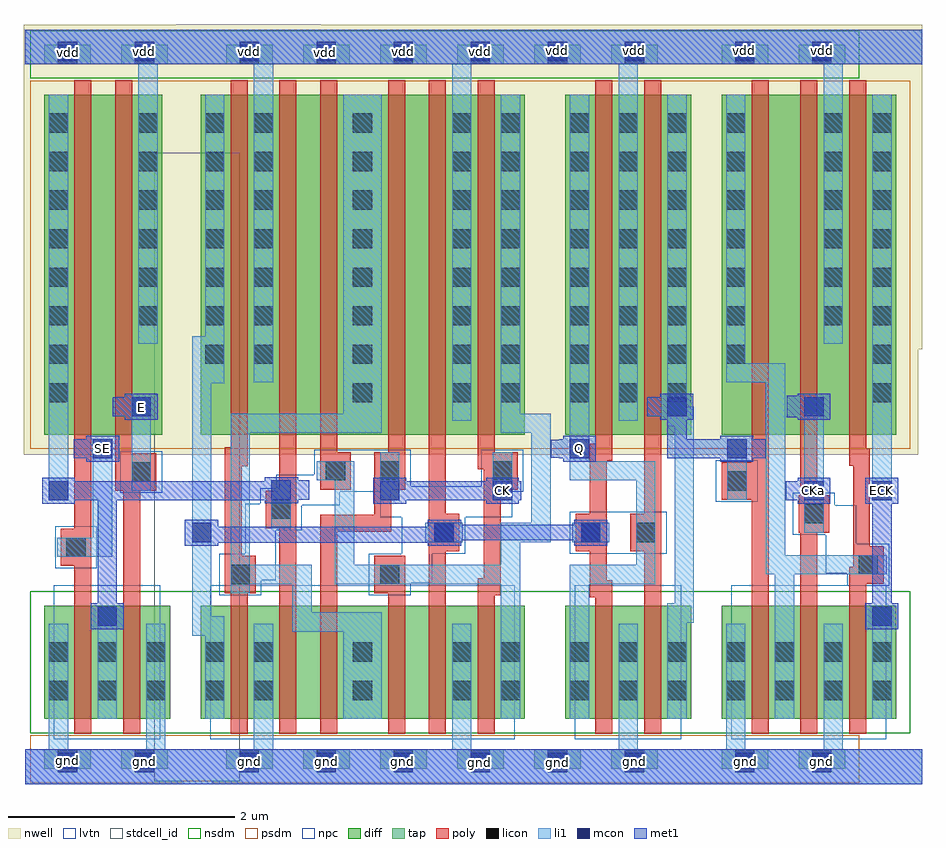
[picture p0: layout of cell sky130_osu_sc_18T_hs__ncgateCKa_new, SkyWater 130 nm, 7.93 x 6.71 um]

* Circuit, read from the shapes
.subckt sky130_osu_sc_18T_hs__ncgateCKa_new CK CKa E ECK Q SE gnd vdd
XM1 n1 SE gnd gnd sky130_fd_pr__nfet_01v8_lvt w=1 l=0.15
XM2 gnd E n1 gnd sky130_fd_pr__nfet_01v8_lvt w=1 l=0.15
XM3 gnd n2 n3 gnd sky130_fd_pr__nfet_01v8_lvt w=1 l=0.15
XM4 n4 n1 gnd gnd sky130_fd_pr__nfet_01v8_lvt w=1 l=0.15
XM5 n2 CK n4 gnd sky130_fd_pr__nfet_01v8_lvt w=1 l=0.15
XM6 n5 n6 n2 gnd sky130_fd_pr__nfet_01v8_lvt w=1 l=0.15
XM7 gnd n3 n5 gnd sky130_fd_pr__nfet_01v8_lvt w=1 l=0.15
XM8 n6 CK gnd gnd sky130_fd_pr__nfet_01v8_lvt w=1 l=0.15
XM9 gnd n3 Q gnd sky130_fd_pr__nfet_01v8_lvt w=1 l=0.15
XM10 n7 Q gnd gnd sky130_fd_pr__nfet_01v8_lvt w=1 l=0.15
XM11 n8 n7 gnd gnd sky130_fd_pr__nfet_01v8_lvt w=1 l=0.15
XM12 gnd CKa n8 gnd sky130_fd_pr__nfet_01v8_lvt w=1 l=0.15
XM13 ECK n8 gnd gnd sky130_fd_pr__nfet_01v8_lvt w=1 l=0.15
XM14 n9 SE n1 vdd sky130_fd_pr__pfet_01v8 w=3 l=0.15
XM15 vdd E n9 vdd sky130_fd_pr__pfet_01v8 w=3 l=0.15
XM16 vdd n2 n3 vdd sky130_fd_pr__pfet_01v8 w=3 l=0.15
XM17 n10 n1 vdd vdd sky130_fd_pr__pfet_01v8 w=3 l=0.15
XM18 n2 n6 n10 vdd sky130_fd_pr__pfet_01v8 w=3 l=0.15
XM19 n11 CK n2 vdd sky130_fd_pr__pfet_01v8 w=3 l=0.15
XM20 vdd n3 n11 vdd sky130_fd_pr__pfet_01v8 w=3 l=0.15
XM21 n6 CK vdd vdd sky130_fd_pr__pfet_01v8 w=3 l=0.15
XM22 vdd n3 Q vdd sky130_fd_pr__pfet_01v8 w=3 l=0.15
XM23 n7 Q vdd vdd sky130_fd_pr__pfet_01v8 w=3 l=0.15
XM24 n12 n7 n8 vdd sky130_fd_pr__pfet_01v8 w=3 l=0.15
XM25 vdd CKa n12 vdd sky130_fd_pr__pfet_01v8 w=3 l=0.15
XM26 ECK n8 vdd vdd sky130_fd_pr__pfet_01v8 w=3 l=0.15
.ends

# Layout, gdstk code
import gdstk
lib = gdstk.Library(unit=1e-6, precision=1e-09)
def R(c, l, rs):  # rectangles x0, y0, x1, y1
    for r in rs: c.add(gdstk.rectangle(r[:2], r[2:], *l))
def A(c, l, x, y, w, h, nx, ny, dx, dy):  # array of equal rectangles
    R(c, l, [(x+i*dx, y+j*dy, x+i*dx+w, y+j*dy+h) for i in range(nx) for j in range(ny)])
nwell = (64, 20)
diff = (65, 20)
tap = (65, 44)
poly = (66, 20)
licon = (66, 44)
li1 = (67, 20)
mcon = (67, 44)
met1 = (68, 20)
stdcell_id = (81, 4)
nsdm = (93, 44)
psdm = (94, 20)
npc = (95, 20)
lvtn = (125, 44)

sky130_osu_sc_18t_hs__nc = lib.new_cell('sky130_osu_sc_18T_hs__ncgateCKa_new')
R(sky130_osu_sc_18t_hs__nc, nwell, [(-1.345,2.88,6.55,3.815), (-1.345,3.815,6.585,6.68), (0,6.68,1.275,6.685)])
R(sky130_osu_sc_18t_hs__nc, diff, [(-1.165,0.55,-0.055,1.55), (0.215,0.55,3.075,1.55), (3.435,0.55,4.545,1.55), (4.815,0.55,6.355,1.55), (-1.165,3.06,-0.125,6.06), (0.215,3.06,3.075,6.06), (3.435,3.06,4.545,6.06), (4.815,3.06,6.355,6.06)])
A(sky130_osu_sc_18t_hs__nc, tap, 0.44, 0.11, 0.41, 0.17, 6, 2, 0.68, 6.22)
R(sky130_osu_sc_18t_hs__nc, tap, [(-1.165,0.11,-0.755,0.28), (-0.485,0.11,-0.075,0.28), (4.815,0.11,5.225,0.28), (5.495,0.11,5.905,0.28), (-1.165,6.33,-0.755,6.5), (-0.485,6.33,-0.075,6.5), (4.815,6.33,5.225,6.5), (5.495,6.33,5.905,6.5)])
R(sky130_osu_sc_18t_hs__nc, poly, [(-0.9,0.42,-0.75,1.9), (-0.47,0.42,-0.32,2.565), (0.48,0.42,0.63,1.66), (0.91,0.42,1.06,2.235), (1.27,0.42,1.42,2.2), (1.87,0.42,2.02,1.66), (2.23,0.42,2.38,2.03), (2.66,0.42,2.81,1.64), (3.7,0.42,3.85,1.625), (4.13,0.42,4.28,2.03), (5.08,0.42,5.23,2.485), (5.51,0.42,5.66,2.195), (5.94,0.42,6.09,1.745), (3.65,1.625,3.85,1.775), (2.66,1.64,2.865,1.79), (0.43,1.66,0.7,1.99), (1.75,1.66,2.02,1.99), (5.94,1.745,6.245,1.895), (3.65,1.775,3.8,2.03), (2.715,1.79,2.865,2.575), (5.975,1.895,6.245,2.075), (-1.02,1.9,-0.75,2.23), (0.43,1.99,0.58,2.78), (2.23,2.03,2.5,2.36), (3.525,2.03,3.8,2.36), (4.01,2.03,4.28,2.36), (5.975,2.075,6.125,2.785), (5.495,2.195,5.765,2.525), (1.27,2.2,1.9,2.35), (-0.9,2.23,-0.75,6.19), (0.79,2.235,1.06,2.565), (1.75,2.35,1.9,2.575), (2.23,2.36,2.38,6.19), (3.65,2.36,3.8,2.83), (4.13,2.36,4.28,6.19), (4.815,2.485,5.23,2.815), (5.51,2.525,5.66,6.19), (-0.54,2.565,-0.175,2.895), (0.91,2.565,1.06,6.19), (1.27,2.575,1.54,2.905), (1.75,2.575,2.02,2.905), (2.715,2.575,3.015,2.755), (2.66,2.755,3.015,2.905), (0.43,2.78,0.63,2.95), (5.94,2.785,6.125,2.935), (5.08,2.815,5.23,6.19), (3.65,2.83,3.85,2.98), (-0.54,2.895,-0.39,6.19), (1.27,2.905,1.42,6.19), (1.87,2.905,2.02,6.19), (2.66,2.905,2.81,6.19), (5.94,2.935,6.09,6.19), (0.48,2.95,0.63,6.19), (3.7,2.98,3.85,6.19)])
A(sky130_osu_sc_18t_hs__nc, licon, 0.56, 0.11, 0.17, 0.17, 6, 2, 0.68, 6.22)
A(sky130_osu_sc_18t_hs__nc, licon, -1.125, 0.715, 0.17, 0.17, 3, 2, 0.43, 0.34)
A(sky130_osu_sc_18t_hs__nc, licon, 0.685, 0.715, 0.17, 0.17, 3, 2, 0.875, 0.34)
A(sky130_osu_sc_18t_hs__nc, licon, 3.475, 0.715, 0.17, 0.17, 3, 2, 0.43, 0.34)
A(sky130_osu_sc_18t_hs__nc, licon, 4.855, 0.715, 0.17, 0.17, 4, 2, 0.43, 0.34)
A(sky130_osu_sc_18t_hs__nc, licon, -1.125, 3.345, 0.17, 0.17, 1, 8, 0, 0.34)
A(sky130_osu_sc_18t_hs__nc, licon, 2.865, 3.345, 0.17, 0.17, 1, 8, 0, 0.34)
A(sky130_osu_sc_18t_hs__nc, licon, 3.475, 3.345, 0.17, 0.17, 3, 8, 0.43, 0.34)
A(sky130_osu_sc_18t_hs__nc, licon, 6.145, 3.345, 0.17, 0.17, 1, 8, 0, 0.34)
A(sky130_osu_sc_18t_hs__nc, licon, 0.255, 3.685, 0.17, 0.17, 1, 7, 0, 0.34)
A(sky130_osu_sc_18t_hs__nc, licon, 0.685, 3.685, 0.17, 0.17, 3, 7, 0.875, 0.34)
A(sky130_osu_sc_18t_hs__nc, licon, 4.855, 3.685, 0.17, 0.17, 1, 7, 0, 0.34)
A(sky130_osu_sc_18t_hs__nc, licon, -0.335, 4.025, 0.17, 0.17, 1, 6, 0, 0.34)
A(sky130_osu_sc_18t_hs__nc, licon, 5.715, 4.025, 0.17, 0.17, 1, 6, 0, 0.34)
R(sky130_osu_sc_18t_hs__nc, licon, [(-1.045,0.11,-0.875,0.28), (-0.365,0.11,-0.195,0.28), (4.935,0.11,5.105,0.28), (5.615,0.11,5.785,0.28), (0.255,0.715,0.425,0.885), (2.865,0.715,3.035,0.885), (0.255,1.055,0.425,1.225), (2.865,1.055,3.035,1.225), (0.48,1.74,0.65,1.91), (1.8,1.74,1.97,1.91), (6.025,1.825,6.195,1.995), (-0.97,1.98,-0.8,2.15), (2.28,2.11,2.45,2.28), (3.575,2.11,3.745,2.28), (4.06,2.11,4.23,2.28), (5.545,2.275,5.715,2.445), (0.84,2.315,1.01,2.485), (4.865,2.565,5.035,2.735), (-0.395,2.645,-0.225,2.815), (1.32,2.655,1.49,2.825), (1.8,2.655,1.97,2.825), (2.795,2.655,2.965,2.825), (1.56,3.345,1.73,3.515), (2.435,3.345,2.605,3.515), (-1.045,6.33,-0.875,6.5), (-0.365,6.33,-0.195,6.5), (4.935,6.33,5.105,6.5), (5.615,6.33,5.785,6.5)])
R(sky130_osu_sc_18t_hs__nc, li1, [(-1.335,-0.025,6.585,0.28), (-1.125,0.28,-0.955,1.39), (-0.265,0.28,-0.095,1.39), (0.685,0.28,0.855,1.39), (2.435,0.28,2.605,1.39), (3.905,0.28,4.075,1.39), (4.855,0.28,5.025,1.39), (5.715,0.28,5.885,1.39), (-0.695,0.55,-0.525,1.54), (0.255,0.55,0.425,1.285), (1.475,0.55,1.815,1.32), (2.865,0.55,3.035,1.74), (3.475,0.55,3.645,1.74), (4.335,0.55,4.505,1.4), (5.285,0.55,5.455,1.825), (6.145,0.55,6.315,1.54), (0.14,1.285,0.425,1.455), (1.025,1.32,1.815,1.49), (4.335,1.4,4.57,1.57), (0.14,1.455,0.31,3.515), (1.025,1.49,1.195,1.74), (4.4,1.57,4.57,3.135), (0.48,1.66,0.65,1.74), (0.48,1.74,1.195,1.91), (1.4,1.74,3.035,1.91), (3.475,1.74,4.23,1.91), (5.205,1.825,6.275,1.995), (0.48,1.91,0.65,3.075), (1.4,1.91,1.57,2.655), (2.865,1.91,3.035,2.11), (4.06,1.91,4.23,2.655), (-1.05,1.98,-0.565,2.15), (5.205,1.995,5.375,3.52), (2.2,2.11,2.53,2.28), (2.865,2.11,3.305,2.28), (3.495,2.11,3.825,2.28), (-0.735,2.15,-0.565,3.02), (5.545,2.195,5.715,3.39), (0.84,2.235,1.01,2.655), (3.135,2.28,3.305,3.075), (-1.125,2.48,-0.955,6.06), (1.8,2.48,1.97,2.905), (2.795,2.48,2.965,2.905), (6.145,2.48,6.315,6.06), (4.865,2.485,5.035,3.02), (-0.395,2.565,-0.225,3.39), (1.24,2.655,1.57,2.825), (3.475,2.655,4.23,2.825), (3.475,2.825,3.645,6.06), (0.48,3.075,1.815,3.245), (2.865,3.075,3.305,3.245), (4.335,3.135,4.57,3.305), (2.435,3.18,2.605,6.33), (3.905,3.18,4.075,6.33), (1.475,3.245,1.815,6.06), (2.865,3.245,3.035,6.06), (4.335,3.305,4.505,6.06), (0.14,3.515,0.425,3.93), (0.685,3.52,0.855,6.33), (4.855,3.52,5.375,3.69), (4.855,3.69,5.025,6.06), (-0.335,3.86,-0.165,6.33), (5.715,3.86,5.885,6.33), (0.255,3.93,0.425,6.06), (-1.335,6.33,6.585,6.635)])
A(sky130_osu_sc_18t_hs__nc, mcon, 0.56, 0.08, 0.17, 0.17, 6, 2, 0.68, 6.28)
R(sky130_osu_sc_18t_hs__nc, mcon, [(-1.045,0.08,-0.875,0.25), (-0.365,0.08,-0.195,0.25), (4.935,0.08,5.105,0.25), (5.615,0.08,5.785,0.25), (-0.695,1.37,-0.525,1.54), (6.145,1.37,6.315,1.54), (0.14,2.11,0.31,2.28), (2.28,2.11,2.45,2.28), (3.575,2.11,3.745,2.28), (-1.125,2.48,-0.955,2.65), (1.8,2.48,1.97,2.65), (2.795,2.48,2.965,2.65), (5.545,2.48,5.715,2.65), (6.145,2.48,6.315,2.65), (0.84,2.485,1.01,2.655), (-0.735,2.85,-0.565,3.02), (3.475,2.85,3.645,3.02), (4.865,2.85,5.035,3.02), (-0.395,3.22,-0.225,3.39), (4.335,3.22,4.505,3.39), (5.545,3.22,5.715,3.39), (-1.045,6.36,-0.875,6.53), (-0.365,6.36,-0.195,6.53), (4.935,6.36,5.105,6.53), (5.615,6.36,5.785,6.53)])
R(sky130_osu_sc_18t_hs__nc, met1, [(-1.335,-0.025,6.585,0.28), (-0.755,1.34,-0.465,1.57), (6.085,1.34,6.375,1.57), (-0.695,1.57,-0.525,2.48), (6.145,1.57,6.315,2.45), (0.075,2.08,0.37,2.105), (2.22,2.08,2.515,2.105), (3.515,2.08,3.805,2.125), (0.075,2.105,2.515,2.125), (0.075,2.125,3.805,2.245), (0.075,2.245,0.37,2.31), (2.22,2.245,3.805,2.265), (2.22,2.265,2.515,2.31), (3.515,2.265,3.805,2.31), (-1.185,2.45,-0.895,2.48), (1.74,2.45,2.03,2.48), (2.735,2.45,3.025,2.48), (5.485,2.45,5.775,2.48), (6.085,2.45,6.375,2.68), (0.78,2.455,1.075,2.48), (-1.185,2.48,1.075,2.485), (1.74,2.48,3.045,2.65), (5.38,2.48,5.775,2.65), (-1.185,2.485,1.175,2.65), (-1.185,2.65,-0.895,2.68), (0.78,2.65,1.175,2.655), (1.74,2.65,2.03,2.68), (2.735,2.65,3.025,2.68), (5.485,2.65,5.775,2.68), (0.78,2.655,1.075,2.685), (-0.795,2.82,-0.505,2.85), (3.415,2.82,3.705,2.85), (4.805,2.82,5.095,2.85), (-0.905,2.85,-0.505,3.02), (3.38,2.85,3.705,2.855), (4.335,2.85,5.205,3.02), (3.305,2.855,3.705,3.015), (3.38,3.015,3.705,3.02), (-0.795,3.02,-0.505,3.05), (3.415,3.02,3.705,3.05), (4.335,3.02,4.505,3.19), (4.805,3.02,5.095,3.05), (-0.455,3.19,-0.165,3.22), (4.275,3.19,4.565,3.22), (5.485,3.19,5.775,3.215), (5.39,3.215,5.775,3.405), (-0.56,3.22,-0.165,3.39), (4.16,3.22,4.565,3.39), (-0.455,3.39,-0.165,3.42), (4.275,3.39,4.565,3.42), (5.485,3.405,5.775,3.42), (-1.335,6.33,6.585,6.635)])
R(sky130_osu_sc_18t_hs__nc, stdcell_id, [(-0.195,0,0.56,5.55)])
R(sky130_osu_sc_18t_hs__nc, nsdm, [(-1.29,0.425,6.48,1.675), (-1.29,6.205,6.03,6.625)])
R(sky130_osu_sc_18t_hs__nc, psdm, [(-1.29,-0.015,0.05,0), (0.315,-0.015,6.03,0), (-1.29,0,6.03,0.405), (-1.29,2.935,6.48,6.185)])
R(sky130_osu_sc_18t_hs__nc, npc, [(0.38,1.64,0.75,1.775), (1.7,1.64,2.07,1.75), (5.925,1.725,6.295,1.835), (1.7,1.75,2.26,2.01), (0.38,1.775,0.88,2.01), (5.735,1.835,6.295,2.095), (-1.07,1.88,-0.7,2.25), (0.61,2.01,0.88,2.215), (1.99,2.01,2.55,2.33), (3.475,2.01,4.33,2.38), (5.735,2.095,6.005,2.175), (5.445,2.175,6.005,2.435), (0.61,2.215,1.11,2.435), (1.8,2.33,2.965,2.555), (0.61,2.435,1.445,2.45), (5.445,2.435,5.815,2.545), (0.74,2.45,1.445,2.555), (4.765,2.465,5.135,2.835), (-0.495,2.545,-0.125,2.915), (0.74,2.555,3.065,2.585), (0.885,2.585,3.065,2.605), (0.885,2.605,2.07,2.705), (2.695,2.605,3.065,2.925), (1.22,2.705,2.07,2.925)])
R(sky130_osu_sc_18t_hs__nc, lvtn, [(-1.08,0.37,-0.14,1.73), (0.3,0.37,2.99,1.73), (3.52,0.37,4.46,1.73), (4.9,0.37,6.27,1.73)])
sky130_osu_sc_18t_hs__nc.add(gdstk.Label('gnd', (-0.96,0.18), layer=68, texttype=16))
sky130_osu_sc_18t_hs__nc.add(gdstk.Label('gnd', (-0.28,0.17), layer=68, texttype=16))
sky130_osu_sc_18t_hs__nc.add(gdstk.Label('gnd', (0.645,0.17), layer=68, texttype=16))
sky130_osu_sc_18t_hs__nc.add(gdstk.Label('gnd', (1.325,0.17), layer=68, texttype=16))
sky130_osu_sc_18t_hs__nc.add(gdstk.Label('gnd', (2,0.175), layer=68, texttype=16))
sky130_osu_sc_18t_hs__nc.add(gdstk.Label('gnd', (2.68,0.165), layer=68, texttype=16))
sky130_osu_sc_18t_hs__nc.add(gdstk.Label('gnd', (3.365,0.165), layer=68, texttype=16))
sky130_osu_sc_18t_hs__nc.add(gdstk.Label('gnd', (4.05,0.17), layer=68, texttype=16))
sky130_osu_sc_18t_hs__nc.add(gdstk.Label('gnd', (5.025,0.17), layer=68, texttype=16))
sky130_osu_sc_18t_hs__nc.add(gdstk.Label('gnd', (5.695,0.175), layer=68, texttype=16))
sky130_osu_sc_18t_hs__nc.add(gdstk.Label('vdd', (-0.952,6.435), layer=64, texttype=16))
sky130_osu_sc_18t_hs__nc.add(gdstk.Label('vdd', (-0.277,6.44), layer=64, texttype=16))
sky130_osu_sc_18t_hs__nc.add(gdstk.Label('vdd', (0.647,6.44), layer=64, texttype=16))
sky130_osu_sc_18t_hs__nc.add(gdstk.Label('vdd', (1.32,6.435), layer=68, texttype=16))
sky130_osu_sc_18t_hs__nc.add(gdstk.Label('vdd', (2.005,6.445), layer=68, texttype=16))
sky130_osu_sc_18t_hs__nc.add(gdstk.Label('vdd', (2.69,6.445), layer=68, texttype=16))
sky130_osu_sc_18t_hs__nc.add(gdstk.Label('vdd', (3.37,6.447), layer=64, texttype=16))
sky130_osu_sc_18t_hs__nc.add(gdstk.Label('vdd', (4.045,6.452), layer=64, texttype=16))
sky130_osu_sc_18t_hs__nc.add(gdstk.Label('vdd', (5.02,6.447), layer=64, texttype=16))
sky130_osu_sc_18t_hs__nc.add(gdstk.Label('vdd', (5.705,6.447), layer=64, texttype=16))
sky130_osu_sc_18t_hs__nc.add(gdstk.Label('SE', (-0.65,2.935), layer=68, texttype=5))
sky130_osu_sc_18t_hs__nc.add(gdstk.Label('E', (-0.305,3.3), layer=68, texttype=5))
sky130_osu_sc_18t_hs__nc.add(gdstk.Label('CK', (2.88,2.565), layer=68, texttype=5))
sky130_osu_sc_18t_hs__nc.add(gdstk.Label('ECK', (6.23,2.565), layer=68, texttype=5))
sky130_osu_sc_18t_hs__nc.add(gdstk.Label('Q', (3.56,2.935), layer=68, texttype=5))
sky130_osu_sc_18t_hs__nc.add(gdstk.Label('CKa', (5.625,2.57), layer=68, texttype=5))

lib.write_gds('sky130_osu_sc_18T_hs__ncgateCKa_new.gds')
